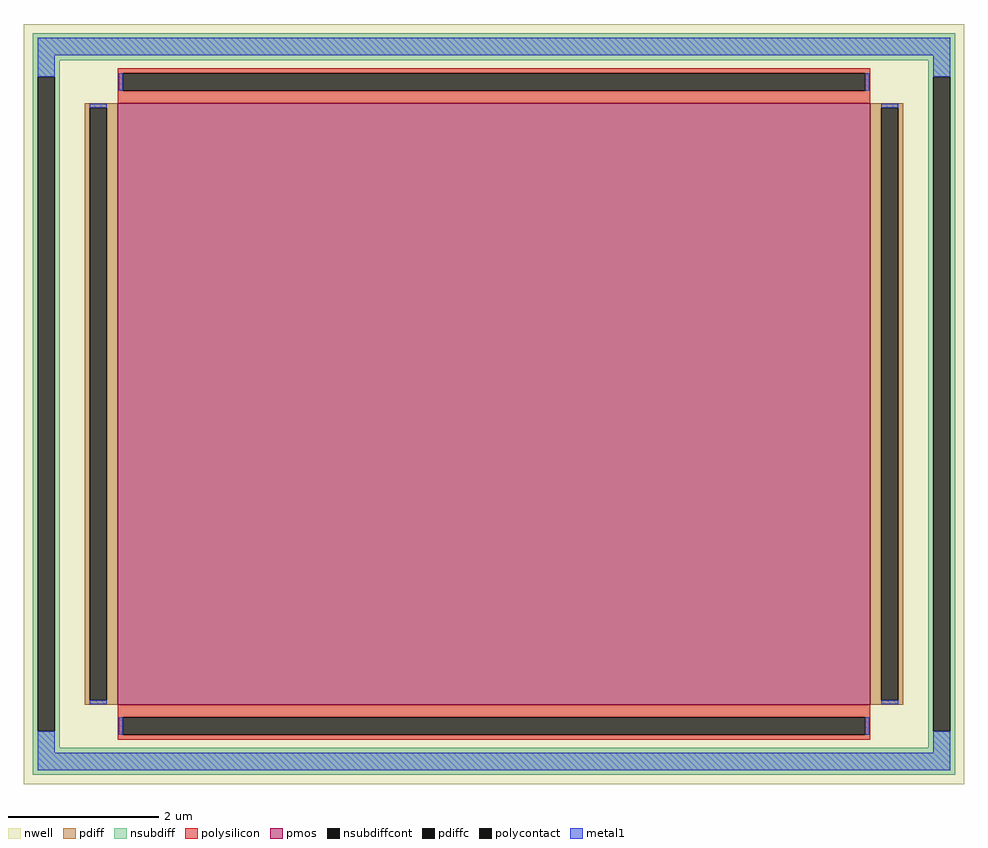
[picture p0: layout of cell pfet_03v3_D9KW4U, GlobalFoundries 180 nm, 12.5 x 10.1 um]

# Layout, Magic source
magic
tech gf180mcuD
magscale 1 10
<< nwell >>
rect -1250 -1010 1250 1010
<< pmos >>
rect -1000 -800 1000 800
<< pdiff >>
rect -1088 787 -1000 800
rect -1088 -787 -1075 787
rect -1029 -787 -1000 787
rect -1088 -800 -1000 -787
rect 1000 787 1088 800
rect 1000 -787 1029 787
rect 1075 -787 1088 787
rect 1000 -800 1088 -787
<< pdiffc >>
rect -1075 -787 -1029 787
rect 1029 -787 1075 787
<< nsubdiff >>
rect -1226 914 1226 986
rect -1226 870 -1154 914
rect -1226 -870 -1213 870
rect -1167 -870 -1154 870
rect 1154 870 1226 914
rect -1226 -914 -1154 -870
rect 1154 -870 1167 870
rect 1213 -870 1226 870
rect 1154 -914 1226 -870
rect -1226 -986 1226 -914
<< nsubdiffcont >>
rect -1213 -870 -1167 870
rect 1167 -870 1213 870
<< polysilicon >>
rect -1000 879 1000 892
rect -1000 833 -987 879
rect 987 833 1000 879
rect -1000 800 1000 833
rect -1000 -833 1000 -800
rect -1000 -879 -987 -833
rect 987 -879 1000 -833
rect -1000 -892 1000 -879
<< polycontact >>
rect -987 833 987 879
rect -987 -879 987 -833
<< metal1 >>
rect -1213 927 1213 973
rect -1213 870 -1167 927
rect -998 833 -987 879
rect 987 833 998 879
rect 1167 870 1213 927
rect -1075 787 -1029 798
rect -1075 -798 -1029 -787
rect 1029 787 1075 798
rect 1029 -798 1075 -787
rect -1213 -927 -1167 -870
rect -998 -879 -987 -833
rect 987 -879 998 -833
rect 1167 -927 1213 -870
rect -1213 -973 1213 -927
<< properties >>
string FIXED_BBOX -1190 -950 1190 950
string gencell pfet_03v3
string library gf180mcu
string parameters w 8.0 l 10.0 m 1 nf 1 diffcov 100 polycov 100 guard 1 glc 1 grc 1 gtc 0 gbc 0 tbcov 100 rlcov 100 topc 1 botc 1 poverlap 0 doverlap 1 lmin 0.28 wmin 0.22 class mosfet full_metal 1 compatible {pfet_03v3 pfet_06v0} ad {int((nf+1)/2) * W/nf * 0.18u} as {int((nf+2)/2) * W/nf * 0.18u} pd {2*int((nf+1)/2) * (W/nf + 0.18u)} ps {2*int((nf+2)/2) * (W/nf + 0.18u)} nrd {0.18u / W} nrs {0.18u / W} sa 0 sb 0 sd 0
<< end >>
